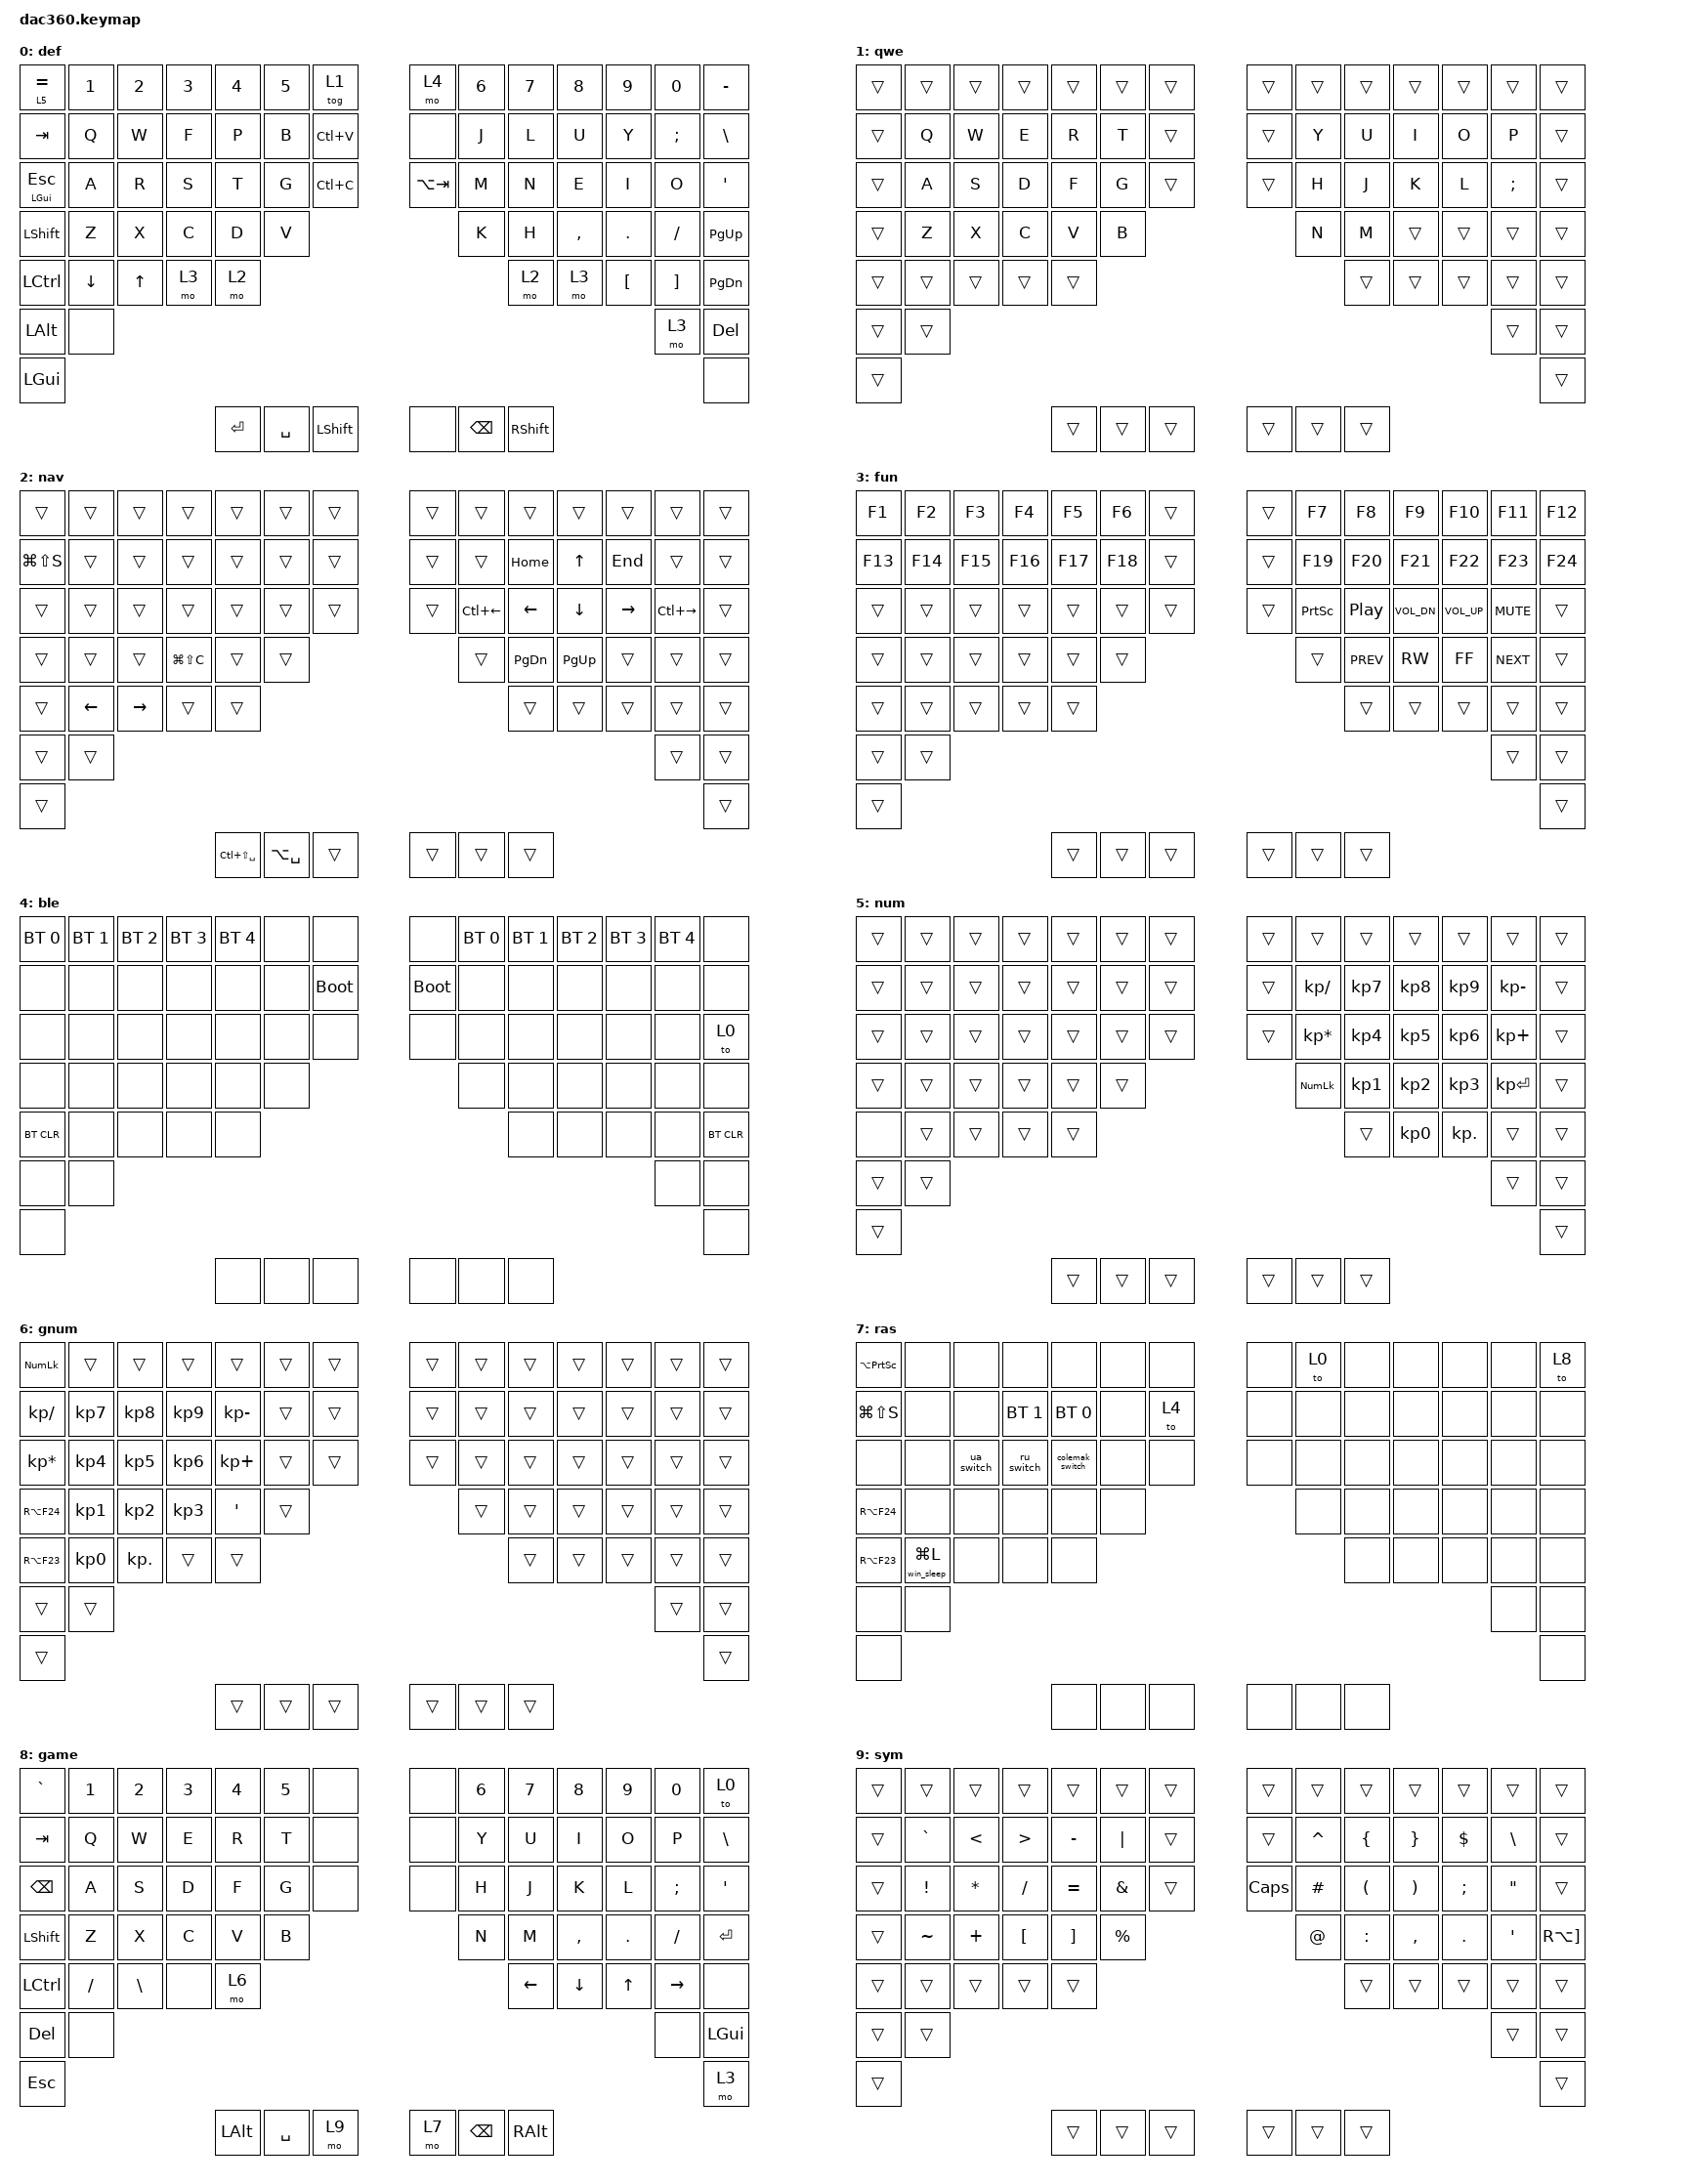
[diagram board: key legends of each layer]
#include <behaviors.dtsi>
#include <dt-bindings/zmk/bt.h>
#include <dt-bindings/zmk/keys.h>

/ {
    conditional_layers { compatible = "zmk,conditional-layers"; };

    macros {
        colemak_switch: eng_colemak_switch {
            compatible = "zmk,behavior-macro";
            #binding-cells = <0>;
            bindings = <&kp LS(LC(NUMBER_1)) &to 0>;
            label = "ENG_COLEMAK_SWITCH";
        };

        ru_switch: ru_switch {
            compatible = "zmk,behavior-macro";
            #binding-cells = <0>;
            bindings = <&kp LS(LC(NUMBER_2)) &to 1>;
            label = " RU_SWITCH";
        };

        ua_switch: ua_switch {
            compatible = "zmk,behavior-macro";
            #binding-cells = <0>;
            bindings = <&kp LS(LC(NUMBER_3)) &to 1>;
            label = "UA_SWITCH";
        };

        win_sleep: win_sleep {
            wait-ms = <50>;
            tap-ms = <5>;
            compatible = "zmk,behavior-macro";
            label = "WIN_SLEEP_KEY";
            #binding-cells = <0>;
            bindings = <&kp LG(X) &kp U &kp S>;
        };
    };

    behaviors {
        sleep_behavior: sleep_behavior {
            compatible = "zmk,behavior-hold-tap";
            label = "SLEEP_BEHAVIOR";
            bindings = <&win_sleep>, <&kp>;

            #binding-cells = <2>;
            flavor = "tap-preferred";
            tapping-term-ms = <500>;
        };

        D_bhv: D_bhv {
            compatible = "zmk,behavior-mod-morph";
            label = "D_BHV";
            bindings = <&kp D>, <&kp LC(V)>;

            #binding-cells = <0>;
            mods = <(MOD_LCTL)>;
        };

        T_bhv: T_bhv {
            compatible = "zmk,behavior-mod-morph";
            label = "T_BHV";
            bindings = <&kp T>, <&kp LC(F)>;

            #binding-cells = <0>;
            mods = <(MOD_LCTL)>;
        };

        R_bhv: R_bhv {
            compatible = "zmk,behavior-mod-morph";
            label = "R_BHV";
            bindings = <&kp R>, <&kp LC(S)>;

            #binding-cells = <0>;
            mods = <(MOD_LCTL)>;
        };

        S_bhv: S_bhv {
            compatible = "zmk,behavior-mod-morph";
            label = "S_BHV";
            bindings = <&kp S>, <&kp LC(D)>;

            #binding-cells = <0>;
            mods = <(MOD_LCTL)>;
        };

        P_bhv: P_bhv {
            compatible = "zmk,behavior-mod-morph";
            label = "P_BHV";
            bindings = <&kp P>, <&kp LC(R)>;

            #binding-cells = <0>;
            mods = <(MOD_LCTL)>;
        };

        B_bhv: B_bhv {
            compatible = "zmk,behavior-mod-morph";
            label = "B_BHV";
            bindings = <&kp B>, <&kp LC(T)>;

            #binding-cells = <0>;
            mods = <(MOD_LCTL)>;
        };

        V_bhv: V_bhv {
            compatible = "zmk,behavior-mod-morph";
            label = "V_BHV";
            bindings = <&kp V>, <&kp LC(B)>;

            #binding-cells = <0>;
            mods = <(MOD_LCTL)>;
        };

        F_bhv: F_bhv {
            compatible = "zmk,behavior-mod-morph";
            label = "F_BHV";
            bindings = <&kp F>, <&kp LC(E)>;

            #binding-cells = <0>;
            mods = <(MOD_LCTL)>;
        };

        K_bhv: K_bhv {
            compatible = "zmk,behavior-mod-morph";
            label = "K_BHV";
            bindings = <&kp K>, <&kp LC(N)>;

            #binding-cells = <0>;
            mods = <(MOD_LCTL)>;
        };

        M_bhv: M_bhv {
            compatible = "zmk,behavior-mod-morph";
            label = "M_BHV";
            bindings = <&kp M>, <&kp LC(H)>;

            #binding-cells = <0>;
            mods = <(MOD_LCTL)>;
        };

        J_bhv: J_bhv {
            compatible = "zmk,behavior-mod-morph";
            label = "J_BHV";
            bindings = <&kp J>, <&kp LC(Y)>;

            #binding-cells = <0>;
            mods = <(MOD_LCTL)>;
        };

        H_bhv: H_bhv {
            compatible = "zmk,behavior-mod-morph";
            label = "H_BHV";
            bindings = <&kp H>, <&kp LC(M)>;

            #binding-cells = <0>;
            mods = <(MOD_LCTL)>;
        };

        N_bhv: N_bhv {
            compatible = "zmk,behavior-mod-morph";
            label = "N_BHV";
            bindings = <&kp N>, <&kp LC(J)>;

            #binding-cells = <0>;
            mods = <(MOD_LCTL)>;
        };

        L_bhv: L_bhv {
            compatible = "zmk,behavior-mod-morph";
            label = "L_BHV";
            bindings = <&kp L>, <&kp LC(U)>;

            #binding-cells = <0>;
            mods = <(MOD_LCTL)>;
        };

        E_bhv: E_bhv {
            compatible = "zmk,behavior-mod-morph";
            label = "E_BHV";
            bindings = <&kp E>, <&kp LC(K)>;

            #binding-cells = <0>;
            mods = <(MOD_LCTL)>;
        };

        U_bhv: U_bhv {
            compatible = "zmk,behavior-mod-morph";
            label = "U_BHV";
            bindings = <&kp U>, <&kp LC(I)>;

            #binding-cells = <0>;
            mods = <(MOD_LCTL)>;
        };

        I_bhv: I_bhv {
            compatible = "zmk,behavior-mod-morph";
            label = "I_BHV";
            bindings = <&kp I>, <&kp LC(L)>;

            #binding-cells = <0>;
            mods = <(MOD_LCTL)>;
        };

        Y_bhv: Y_bhv {
            compatible = "zmk,behavior-mod-morph";
            label = "Y_BHV";
            bindings = <&kp Y>, <&kp LC(O)>;

            #binding-cells = <0>;
            mods = <(MOD_LCTL)>;
        };

        O_bhv: O_bhv {
            compatible = "zmk,behavior-mod-morph";
            label = "O_BHV";
            bindings = <&kp O>, <&kp LC(SEMICOLON)>;

            #binding-cells = <0>;
            mods = <(MOD_LCTL)>;
        };

        semcol_bhv: semcol_bhv {
            compatible = "zmk,behavior-mod-morph";
            label = "SEMCOL_BHV";
            bindings = <&kp SEMICOLON>, <&kp LC(P)>;

            #binding-cells = <0>;
            mods = <(MOD_LCTL)>;
        };
    };

    keymap {
        compatible = "zmk,keymap";

        Colemak {
            bindings = <
&lt 5 EQUAL       &kp N1    &kp N2  &kp N3  &kp N4  &kp N5  &tog 1                                                       &mo 4        &kp N6  &kp N7  &kp N8     &kp N9    &kp N0    &kp MINUS
&kp TAB           &kp Q     &kp W   &kp F   &kp P   &kp B   &kp LC(V)                                                    &none        &kp J   &kp L   &kp U      &kp Y     &kp SEMI  &kp BACKSLASH
&mt LEFT_GUI ESC  &kp A     &kp R   &kp S   &kp T   &kp G   &kp LC(C)                                                    &kp LA(TAB)  &kp M   &kp N   &kp E      &kp I     &kp O     &kp SQT
&kp LEFT_SHIFT    &kp Z     &kp X   &kp C   &kp D   &kp V                                                                             &kp K   &kp H   &kp COMMA  &kp DOT   &kp FSLH  &kp PAGE_UP
&kp LCTRL         &kp DOWN  &kp UP  &mo 3   &mo 2                                                                                             &mo 2   &mo 3      &kp LBKT  &kp RBKT  &kp PAGE_DOWN
                                                                                &kp LALT   &none        &mo 3  &kp DEL
                                                                                           &kp LGUI     &none
                                                                       &kp RET  &kp SPACE  &kp LSHFT    &none  &kp BSPC  &kp RSHFT
            >;

            label = "def";
        };

        Qwerty {
            bindings = <
&trans  &trans  &trans  &trans  &trans  &trans  &trans                                            &trans  &trans  &trans  &trans  &trans  &trans    &trans
&trans  &kp Q   &kp W   &kp E   &kp R   &kp T   &trans                                            &trans  &kp Y   &kp U   &kp I   &kp O   &kp P     &trans
&trans  &kp A   &kp S   &kp D   &kp F   &kp G   &trans                                            &trans  &kp H   &kp J   &kp K   &kp L   &kp SEMI  &trans
&trans  &kp Z   &kp X   &kp C   &kp V   &kp B                                                             &kp N   &kp M   &trans  &trans  &trans    &trans
&trans  &trans  &trans  &trans  &trans                                                                            &trans  &trans  &trans  &trans    &trans
                                                                &trans  &trans    &trans  &trans
                                                                        &trans    &trans
                                                        &trans  &trans  &trans    &trans  &trans  &trans
            >;

            label = "qwe";
        };

        Arrows {
            bindings = <
&trans         &trans    &trans     &trans         &trans  &trans  &trans                                                              &trans  &trans        &trans     &trans     &trans     &trans         &trans
&kp LG(LS(S))  &trans    &trans     &trans         &trans  &trans  &trans                                                              &trans  &trans        &kp HOME   &kp UP     &kp END    &trans         &trans
&trans         &trans    &trans     &trans         &trans  &trans  &trans                                                              &trans  &kp LC(LEFT)  &kp LEFT   &kp DOWN   &kp RIGHT  &kp LC(RIGHT)  &trans
&trans         &trans    &trans     &kp LG(LS(C))  &trans  &trans                                                                              &trans        &kp PG_DN  &kp PG_UP  &trans     &trans         &trans
&trans         &kp LEFT  &kp RIGHT  &trans         &trans                                                                                                    &trans     &trans     &trans     &trans         &trans
                                                                                              &trans         &trans    &trans  &trans
                                                                                                             &trans    &trans
                                                                           &kp LC(LS(SPACE))  &kp LA(SPACE)  &trans    &trans  &trans  &trans
            >;

            label = "nav";
        };

        F_keys {
            bindings = <
&kp F1   &kp F2   &kp F3   &kp F4   &kp F5   &kp F6   &trans                                            &trans  &kp F7           &kp F8      &kp F9        &kp F10       &kp F11     &kp F12
&kp F13  &kp F14  &kp F15  &kp F16  &kp F17  &kp F18  &trans                                            &trans  &kp F19          &kp F20     &kp F21       &kp F22       &kp F23     &kp F24
&trans   &trans   &trans   &trans   &trans   &trans   &trans                                            &trans  &kp PRINTSCREEN  &kp C_PP    &kp C_VOL_DN  &kp C_VOL_UP  &kp C_MUTE  &trans
&trans   &trans   &trans   &trans   &trans   &trans                                                             &trans           &kp C_PREV  &kp C_RW      &kp C_FF      &kp C_NEXT  &trans
&trans   &trans   &trans   &trans   &trans                                                                                       &trans      &trans        &trans        &trans      &trans
                                                                      &trans  &trans    &trans  &trans
                                                                              &trans    &trans
                                                              &trans  &trans  &trans    &trans  &trans  &trans
            >;

            label = "fun";
        };

        ble {
            bindings = <
&bt BT_SEL 0  &bt BT_SEL 1  &bt BT_SEL 2  &bt BT_SEL 3  &bt BT_SEL 4  &none  &none                                             &none        &bt BT_SEL 0  &bt BT_SEL 1  &bt BT_SEL 2  &bt BT_SEL 3  &bt BT_SEL 4  &none
&none         &none         &none         &none         &none         &none  &bootloader                                       &bootloader  &none         &none         &none         &none         &none         &none
&none         &none         &none         &none         &none         &none  &none                                             &none        &none         &none         &none         &none         &none         &to 0
&none         &none         &none         &none         &none         &none                                                                 &none         &none         &none         &none         &none         &none
&bt BT_CLR    &none         &none         &none         &none                                                                                             &none         &none         &none         &none         &bt BT_CLR
                                                                                                 &none  &none    &none  &none
                                                                                                        &none    &none
                                                                                          &none  &none  &none    &none  &none  &none
            >;

            label = "ble";
        };

        num {
            bindings = <
&trans  &trans  &trans  &trans  &trans  &trans  &trans                                            &trans  &trans           &trans     &trans           &trans      &trans        &trans
&trans  &trans  &trans  &trans  &trans  &trans  &trans                                            &trans  &kp KP_SLASH     &kp KP_N7  &kp KP_N8        &kp KP_N9   &kp KP_MINUS  &trans
&trans  &trans  &trans  &trans  &trans  &trans  &trans                                            &trans  &kp KP_MULTIPLY  &kp KP_N4  &kp KP_N5        &kp KP_N6   &kp KP_PLUS   &trans
&trans  &trans  &trans  &trans  &trans  &trans                                                            &kp KP_NUM       &kp KP_N1  &kp KP_N2        &kp KP_N3   &kp KP_ENTER  &trans
&none   &trans  &trans  &trans  &trans                                                                                     &trans     &kp KP_NUMBER_0  &kp KP_DOT  &trans        &trans
                                                                &trans  &trans    &trans  &trans
                                                                        &trans    &trans
                                                        &trans  &trans  &trans    &trans  &trans  &trans
            >;

            label = "num";
        };

        gnum {
            bindings = <
&kp KP_NUM       &trans           &trans           &trans           &trans        &trans  &trans                                            &trans  &trans  &trans  &trans  &trans  &trans  &trans
&kp KP_SLASH     &kp KP_NUMBER_7  &kp KP_NUMBER_8  &kp KP_NUMBER_9  &kp KP_MINUS  &trans  &trans                                            &trans  &trans  &trans  &trans  &trans  &trans  &trans
&kp KP_MULTIPLY  &kp KP_NUMBER_4  &kp KP_NUMBER_5  &kp KP_NUMBER_6  &kp KP_PLUS   &trans  &trans                                            &trans  &trans  &trans  &trans  &trans  &trans  &trans
&kp RA(F24)      &kp KP_NUMBER_1  &kp KP_NUMBER_2  &kp KP_NUMBER_3  &kp SQT       &trans                                                            &trans  &trans  &trans  &trans  &trans  &trans
&kp RA(F23)      &kp KP_NUMBER_0  &kp KP_DOT       &trans           &trans                                                                                  &trans  &trans  &trans  &trans  &trans
                                                                                                          &trans  &trans    &trans  &trans
                                                                                                                  &trans    &trans
                                                                                                  &trans  &trans  &trans    &trans  &trans  &trans
            >;

            label = "gnum";
        };

        raise {
            bindings = <
&kp LA(PRINTSCREEN)  &none                    &none       &none         &none            &none  &none                                       &none  &to 0  &none  &none  &none  &none  &to 8
&kp LG(LS(S))        &none                    &none       &bt BT_SEL 1  &bt BT_SEL 0     &none  &to 4                                       &none  &none  &none  &none  &none  &none  &none
&none                &none                    &ua_switch  &ru_switch    &colemak_switch  &none  &none                                       &none  &none  &none  &none  &none  &none  &none
&kp RA(F24)          &none                    &none       &none         &none            &none                                                     &none  &none  &none  &none  &none  &none
&kp RA(F23)          &sleep_behavior 0 LG(L)  &none       &none         &none                                                                             &none  &none  &none  &none  &none
                                                                                                              &none  &none    &none  &none
                                                                                                                     &none    &none
                                                                                                       &none  &none  &none    &none  &none  &none
            >;

            label = "ras";
        };

        game {
            bindings = <
&kp GRAVE  &kp N1    &kp N2    &kp N3  &kp N4  &kp N5  &none                                                   &none     &kp N6  &kp N7    &kp N8     &kp N9   &kp N0     &to 0
&kp TAB    &kp Q     &kp W     &kp E   &kp R   &kp T   &none                                                   &none     &kp Y   &kp U     &kp I      &kp O    &kp P      &kp BSLH
&kp BSPC   &kp A     &kp S     &kp D   &kp F   &kp G   &none                                                   &none     &kp H   &kp J     &kp K      &kp L    &kp SEMI   &kp SQT
&kp LSHFT  &kp Z     &kp X     &kp C   &kp V   &kp B                                                                     &kp N   &kp M     &kp COMMA  &kp DOT  &kp FSLH   &kp RET
&kp LCTRL  &kp FSLH  &kp BSLH  &none   &mo 6                                                                                     &kp LEFT  &kp DOWN   &kp UP   &kp RIGHT  &none
                                                                        &kp DEL    &none      &none  &kp LGUI
                                                                                   &kp ESC    &mo 3
                                                              &kp LALT  &kp SPACE  &mo 9      &mo 7  &kp BSPC  &kp RALT
            >;

            label = "game";
        };

        sym {
            bindings = <
&trans  &trans     &trans         &trans            &trans     &trans       &trans                                            &trans    &trans     &trans                &trans                 &trans      &trans    &trans
&trans  &kp GRAVE  &kp LESS_THAN  &kp GREATER_THAN  &kp MINUS  &kp PIPE     &trans                                            &trans    &kp CARET  &kp LEFT_BRACE        &kp RIGHT_BRACE        &kp DOLLAR  &kp BSLH  &trans
&trans  &kp EXCL   &kp ASTRK      &kp FSLH          &kp EQUAL  &kp AMPS     &trans                                            &kp CAPS  &kp HASH   &kp LEFT_PARENTHESIS  &kp RIGHT_PARENTHESIS  &kp SEMI    &kp DQT   &trans
&trans  &kp TILDE  &kp PLUS       &kp LBKT          &kp RBKT   &kp PERCENT                                                              &kp AT     &kp COLON             &kp COMMA              &kp DOT     &kp SQT   &kp RA(RIGHT_BRACKET)
&trans  &trans     &trans         &trans            &trans                                                                                         &trans                &trans                 &trans      &trans    &trans
                                                                                            &trans  &trans    &trans  &trans
                                                                                                    &trans    &trans
                                                                                    &trans  &trans  &trans    &trans  &trans  &trans
            >;

            label = "sym";
        };
    };
};
